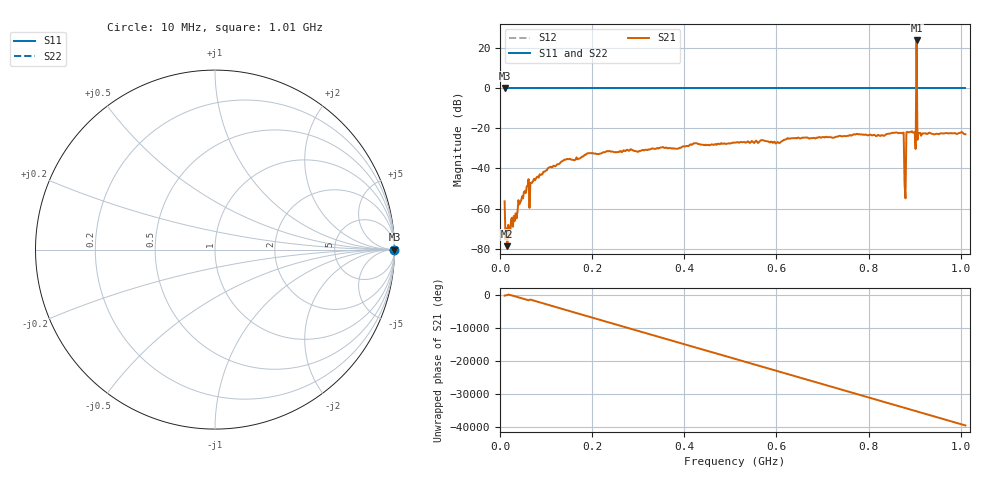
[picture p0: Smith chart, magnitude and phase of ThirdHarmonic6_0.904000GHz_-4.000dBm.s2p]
! 8/16/2025 5:37:25 AM
! C:\ANRITSUVNA\TEMP\TEMP.S2P
! CHANNEL.1
! TR.MEASUREMENT
! RAW.DATA
! RF.CORRECTION.OFF
! AVERAGING.OFF
! IF.BANDWIDTH: 5KHZ
! SWEEPTYPE:  FREQ.SWEEP(Linear)
! Reference Plane Port Info
! PORT:  PORT1  PORT2
! DISTANCE:  0  m  0  m
! TIME:  0  s  0  s
! PHASE.OFFSET:  0  deg.  0  deg.
! LOSS:  0  dB  0  dB
! REF.LOSS:  0  dB  0  dB
! REF.FREQ:  0  Hz  0  Hz
! Power Info
! POWER:  -20  dBm  -20  dBm
! EFF.POWER:  -20  dBm  -20  dBm
! SOURCE.ATTEN:  0  dB  0  dB
! TEST.ATTEN:  0  dB  0  dB
# GHZ S RI R 50.0
! FREQ.GHZ  S11RE  S11IM  S21RE  S21IM  S12RE  S12IM  S22RE  S22IM
!; PortSelection: Port_12
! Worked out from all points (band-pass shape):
!   501 points, 10 MHz to 1.01 GHz, reference 50 ohm
!   highest |S21| = 23.65 dB at 904 MHz (marker M1); lowest = -78.6 dB at 16 MHz (marker M2)
!   |S21| within 3 dB of the highest: 903.8888 MHz to 904.1214 MHz (232.6 kHz wide, 0.0257 % of centre)
!   lowest |S11| = 0.0 dB at 10 MHz (marker M3)
!   |S11| at or under -10 dB: nowhere
!   |S22| runs from 0.0 to 0.0 dB; largest |S21 - S12| = 16
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0.01  1 0  -0.00151 -0.000186  1 0  1 0
0.016  1 0  0.000115 -2.05e-05  1 0  1 0
0.058  1 0  0.00278 0.00225  1 0  1 0
0.06  1 0  0.00205 -0.0031  1 0  1 0
0.068  1 0  0.0039 -0.0022  1 0  1 0
0.07  1 0  -0.00116 -0.00424  1 0  1 0
0.108  1 0  -0.00874 0.00623  1 0  1 0
0.178  1 0  -0.0192 -0.00501  1 0  1 0
0.344  1 0  0.0308 -0.00502  1 0  1 0
0.51  1 0  -0.0424 0.0111  1 0  1 0
0.678  1 0  -0.0154 -0.0544  1 0  1 0
0.844  1 0  0.0409 0.0608  1 0  1 0
0.872  1 0  0.075 0.00557  1 0  1 0
0.876  1 0  -0.0705 -0.0338  1 0  1 0
0.882  1 0  0.0636 -0.0482  1 0  1 0
0.886  1 0  -0.0741 0.0285  1 0  1 0
0.898  1 0  0.0651 0.044  1 0  1 0
0.9  1 0  0.0558 -0.0573  1 0  1 0
0.904  1 0  -13.54 6.968  1 0  1 0
0.908  1 0  0.075 -0.0123  1 0  1 0
0.91  1 0  0.000777 -0.0764  1 0  1 0
1.01  1 0  -0.064 -0.0309  1 0  1 0
